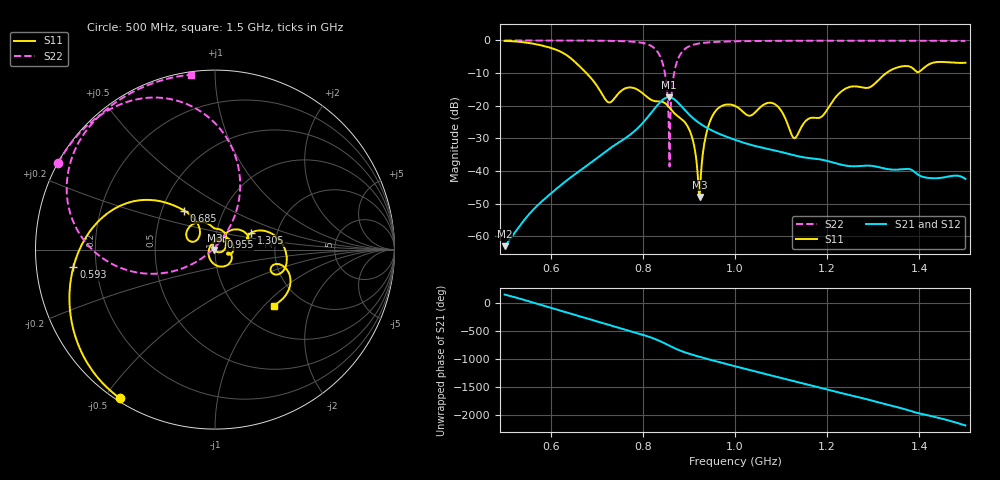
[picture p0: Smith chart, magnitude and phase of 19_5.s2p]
! TOUCHSTONE file generated by CST MICROWAVE STUDIO
! Date and time: Fri Oct  2 19:12:35 2020
! Project name: Scenario_1_Free_Space_out_of_line.cst
! Parameters = {Lambda=346.42; Step_1=17.321; dy1=35.502; dx1=866; L_HA=400; MT=2.54; Rad_Dielectric=30; Rad_Lower=7.3; Rad_Upper=30; a_HA=580; a_WG=246; b_HA=500; b_WG=121; c_HA=0; c_WG=187; d_feed=85; h_feed=15; h_lower=18; h_upper=40}
! Header version: 2018
! Port assignment regex: !\s*Touchstone port\s*([0-9]+)\s*=\s*(CST MWS port|CST DS port)\s*([0-9]+|Zmin|Zmax)\s*\(\"(.*)\"\)(\s*mode\s*([0-9]+))?.*
! Touchstone port assignment:
! Touchstone port 1 = CST MWS port 1 ("")
! Touchstone port 2 = CST MWS port 2 ("")
# GHz S DB R 50
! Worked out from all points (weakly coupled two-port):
!   1003 points, 500 MHz to 1.5 GHz, reference 50 ohm
!   highest |S21| = -17.38 dB at 856 MHz (marker M1); lowest = -63.0 dB at 500 MHz (marker M2)
!   lowest |S11| = -48.0 dB at 923 MHz (marker M3), VSWR 1.01, Z = 49.6 - j0.174 ohm
!   |S11| at or under -10 dB: 677.5 MHz to 1.328 GHz (650.9 MHz wide, 64.9 % of centre)
!   |S22| runs from -38.6 to 0.0 dB; largest |S21 - S12| = 4.7e-06
!   S11 on the Smith chart (normalised r, x): 500 MHz: 0.01, -0.55; 593 MHz: 0.11, -0.06; 685 MHz: 0.65, +0.31; 955 MHz: 1.06, +0.15; 1.305 GHz: 1.47, +0.29; 1.5 GHz: 1.44, -1.14
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0.5  -0.15 -122.6  -63.03 143.6  -63.03 143.6  -0.01 151.1
0.593  -1.99 -172.9  -47.79 -75.0  -47.79 -75.0  -0.02 144.6
0.667  -8.52 136.0  -39.54 107.9  -39.54 107.9  -0.04 138.3
0.685  -11.14 128.3  -37.68 65.6  -37.68 65.6  -0.06 136.4
0.725  -18.93 142.4  -33.42 -30.5  -33.42 -30.5  -0.12 131.4
0.772  -14.39 138.6  -28.93 -143.8  -28.93 -143.8  -0.32 122.4
0.834  -18.68 83.5  -19.44 47.8  -19.44 47.8  -3.93 84.8
0.847  -19.12 64.7  -17.79 -1.3  -17.79 -1.3  -9.37 66.0
0.856  -20.27 50.0  -17.38 -38.0  -17.38 -38.0  -24.45 57.2
0.878  -23.43 24.9  -19.30 -122.5  -19.30 -122.5  -5.13 -170.3
0.905  -28.88 -22.7  -23.32 160.0  -23.32 160.0  -1.53 165.1
0.923  -47.97 -154.0  -25.37 117.2  -25.37 117.2  -0.91 156.6
0.937  -29.00 107.5  -26.61 85.6  -26.61 85.6  -0.67 152.1
0.955  -22.17 65.7  -27.94 46.0  -27.94 46.0  -0.48 147.7
1  -20.06 -7.1  -30.45 -50.7  -30.45 -50.7  -0.26 140.1
1.085  -19.41 -59.8  -33.67 132.0  -33.67 132.0  -0.13 131.0
1.129  -29.97 155.6  -35.21 40.8  -35.21 40.8  -0.11 127.2
1.167  -23.67 46.6  -36.13 -35.3  -36.13 -35.3  -0.09 124.1
1.239  -14.84 36.4  -38.32 177.3  -38.32 177.3  -0.08 118.6
1.305  -13.03 24.8  -38.60 40.6  -38.60 40.6  -0.09 113.6
1.334  -9.46 14.3  -39.47 -20.2  -39.47 -20.2  -0.09 111.4
1.5  -6.84 -44.0  -42.41 -22.6  -42.41 -22.6  -0.14 97.8
